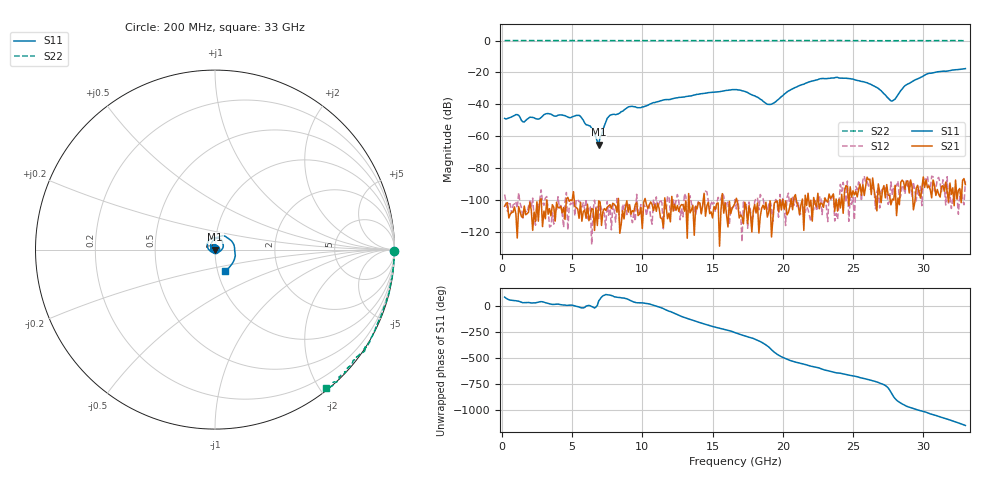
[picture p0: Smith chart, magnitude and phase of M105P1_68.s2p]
# GHZ S RI R 50
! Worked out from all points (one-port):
!   329 points, 200 MHz to 33 GHz, reference 50 ohm
!   lowest |S11| = -65.3 dB at 6.9 GHz (marker M1), VSWR 1.00, Z = 50 + j0.0393 ohm
!   |S11| at or under -10 dB: start of sweep to end of sweep
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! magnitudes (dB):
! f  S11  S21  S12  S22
! 200 MHz  -48.8  -103.9  -96.5  0.0
! 1.1 GHz  -46.4  -123.8  -105.2  0.0
! 1.6 GHz  -51.0  -103.8  -105.5  0.0
! 3.3 GHz  -45.8  -108.9  -106.0  0.0
! 5.7 GHz  -48.7  -113.2  -104.4  0.0
! 6.5 GHz  -55.7  -106.0  -106.1  0.0
! 6.9 GHz  -65.3  -100.5  -111.5  0.0
! 7 GHz  -60.1  -101.2  -102.6  0.0
! 7.7 GHz  -46.8  -103.0  -102.9  0.0
! 9 GHz  -41.6  -107.6  -102.0  0.0
! 11.2 GHz  -38.1  -105.3  -102.0  0.0
! 16.6 GHz  -30.8  -101.9  -99.7  0.0
! 19.1 GHz  -40.1  -100.5  -100.7  0.0
! 20.4 GHz  -31.6  -107.8  -95.7  0.0
! 22.1 GHz  -25.4  -113.2  -106.2  0.0
! 25 GHz  -24.1  -94.2  -98.3  -0.1
! 26.7 GHz  -29.5  -106.7  -94.8  -0.1
! 27.6 GHz  -37.0  -97.1  -100.6  -0.1
! 28 GHz  -36.7  -90.7  -91.7  -0.1
! 28.7 GHz  -28.3  -93.2  -96.3  -0.1
! 30.3 GHz  -20.8  -92.3  -85.0  -0.1
! 33 GHz  -17.6  -90.3  -88.3  -0.1
